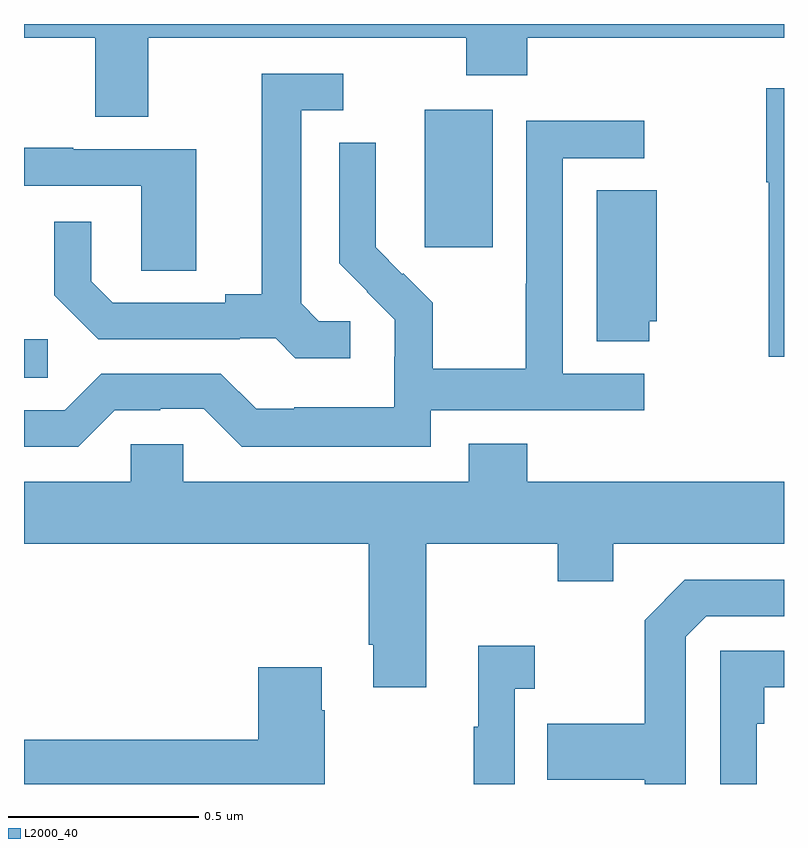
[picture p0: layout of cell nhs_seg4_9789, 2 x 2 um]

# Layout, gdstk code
import gdstk
lib = gdstk.Library(unit=1e-6, precision=1e-09)
def R(c, l, rs):  # rectangles x0, y0, x1, y1
    for r in rs: c.add(gdstk.rectangle(r[:2], r[2:], *l))
def P(c, l, *ps):  # polygons
    for p in ps: c.add(gdstk.Polygon(p, *l))
L2000_40 = (2000, 40)

nhs_seg4_9789 = lib.new_cell('nhs_seg4_9789')
R(nhs_seg4_9789, L2000_40, [(232,751.969,232.063,752.07), (233.054,752.313,233.233,752.674)])
P(nhs_seg4_9789, L2000_40, [(232.327,752.864),(233.164,752.864),(233.164,752.765),(233.324,752.765),(233.324,752.864),(234,752.864),(234,752.9),(232,752.9),(232,752.864),(232.187,752.864),(232.187,752.656),(232.327,752.656)],
  [(232.858,752.118),(232.776,752.118),(232.729,752.165),(232.729,752.673),(232.84,752.673),(232.84,752.769),(232.625,752.769),(232.625,752.189),(232.529,752.189),(232.529,752.166),(232.234,752.166),(232.177,752.223),(232.177,752.38),(232.08,752.38),(232.08,752.186),(232.196,752.07),(232.568,752.07),(232.568,752.073),(232.662,752.073),(232.714,752.021),(232.858,752.021)],
  [(234,752.731),(233.953,752.731),(233.953,752.483),(233.96,752.483),(233.96,752.024),(234,752.024)],
  [(233.07,751.884),(233.632,751.884),(233.632,751.98),(233.418,751.98),(233.418,752.547),(233.632,752.547),(233.632,752.646),(233.322,752.646),(233.322,752.216),(233.32,752.216),(233.32,751.993),(233.075,751.993),(233.075,752.167),(232.998,752.244),(232.995,752.241),(232.925,752.312),(232.925,752.434),(232.926,752.434),(232.926,752.588),(232.83,752.588),(232.83,752.27),(232.903,752.197),(232.902,752.196),(232.976,752.122),(232.976,752.025),(232.974,752.025),(232.974,751.891),(232.711,751.891),(232.711,751.887),(232.611,751.887),(232.518,751.98),(232.203,751.98),(232.107,751.884),(232,751.884),(232,751.788),(232.143,751.788),(232.239,751.884),(232.358,751.884),(232.358,751.887),(232.473,751.887),(232.573,751.787),(233.07,751.787)],
  [(232.453,752.571),(232.129,752.571),(232.129,752.575),(232,752.575),(232,752.475),(232.308,752.475),(232.308,752.251),(232.453,752.251)],
  [(233.646,752.118),(233.665,752.118),(233.665,752.462),(233.507,752.462),(233.507,752.065),(233.646,752.065)],
  [(233.059,751.532),(233.404,751.532),(233.404,751.433),(233.551,751.433),(233.551,751.532),(234,751.532),(234,751.696),(233.324,751.696),(233.324,751.795),(233.171,751.795),(233.171,751.696),(232.419,751.696),(232.419,751.794),(232.281,751.794),(232.281,751.696),(232,751.696),(232,751.532),(232.907,751.532),(232.907,751.267),(232.919,751.267),(232.919,751.155),(233.059,751.155)],
  [(233.742,751.287),(233.796,751.341),(234,751.341),(234,751.437),(233.739,751.437),(233.634,751.331),(233.634,751.059),(233.377,751.059),(233.377,750.911),(233.634,750.911),(233.634,750.9),(233.742,750.9)],
  [(233.292,751.151),(233.344,751.151),(233.344,751.264),(233.195,751.264),(233.195,751.051),(233.184,751.051),(233.184,750.9),(233.292,750.9)],
  [(233.928,751.058),(233.948,751.058),(233.948,751.155),(234,751.155),(234,751.251),(233.832,751.251),(233.832,750.9),(233.928,750.9)],
  [(232.791,751.094),(232.783,751.094),(232.783,751.207),(232.616,751.207),(232.616,751.016),(232,751.016),(232,750.9),(232.791,750.9)])

lib.write_gds('nhs_seg4_9789.gds')
